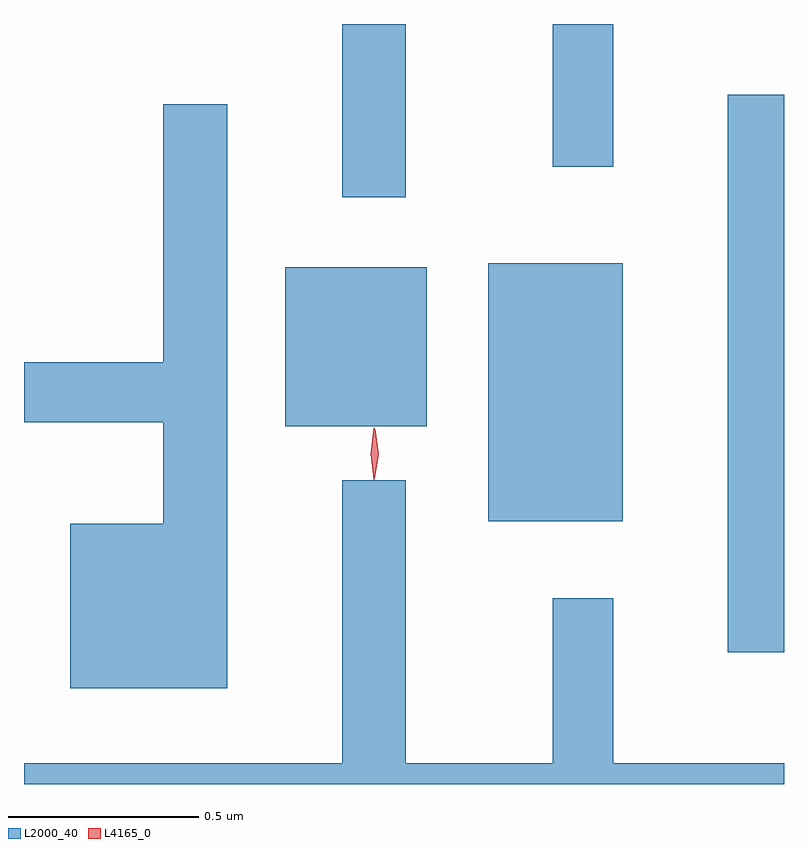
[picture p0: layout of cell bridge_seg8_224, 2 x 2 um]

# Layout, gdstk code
import gdstk
lib = gdstk.Library(unit=1e-6, precision=1e-09)
def R(c, l, rs):  # rectangles x0, y0, x1, y1
    for r in rs: c.add(gdstk.rectangle(r[:2], r[2:], *l))
def P(c, l, *ps):  # polygons
    for p in ps: c.add(gdstk.Polygon(p, *l))
L2000_40 = (2000, 40)
L4165_0 = (4165, 0)

bridge_seg8_224 = lib.new_cell('bridge_seg8_224')
R(bridge_seg8_224, L2000_40, [(1143.136,1901.356,1143.284,1902.823), (1142.506,1901.701,1142.859,1902.379), (1141.971,1901.951,1142.344,1902.369), (1142.121,1902.553,1142.289,1903.009), (1142.676,1902.633,1142.834,1903.009)])
P(bridge_seg8_224, L2000_40, [(1141.819,1902.798),(1141.651,1902.798),(1141.651,1902.119),(1141.284,1902.119),(1141.284,1901.961),(1141.651,1901.961),(1141.651,1901.694),(1141.406,1901.694),(1141.406,1901.261),(1141.819,1901.261)],
  [(1143.284,1901.064),(1142.834,1901.064),(1142.834,1901.498),(1142.676,1901.498),(1142.676,1901.064),(1142.289,1901.064),(1142.289,1901.808),(1142.121,1901.808),(1142.121,1901.064),(1141.284,1901.064),(1141.284,1901.009),(1143.284,1901.009)])
P(bridge_seg8_224, L4165_0, [(1142.206,1901.813),(1142.197,1901.877),(1142.207,1901.942),(1142.208,1901.942),(1142.208,1901.942),(1142.217,1901.877),(1142.207,1901.813),(1142.207,1901.813)],
  [(1142.205,1901.809),(1142.204,1901.81),(1142.196,1901.878),(1142.205,1901.946),(1142.206,1901.946),(1142.206,1901.946),(1142.215,1901.878),(1142.206,1901.81)])

lib.write_gds('bridge_seg8_224.gds')
